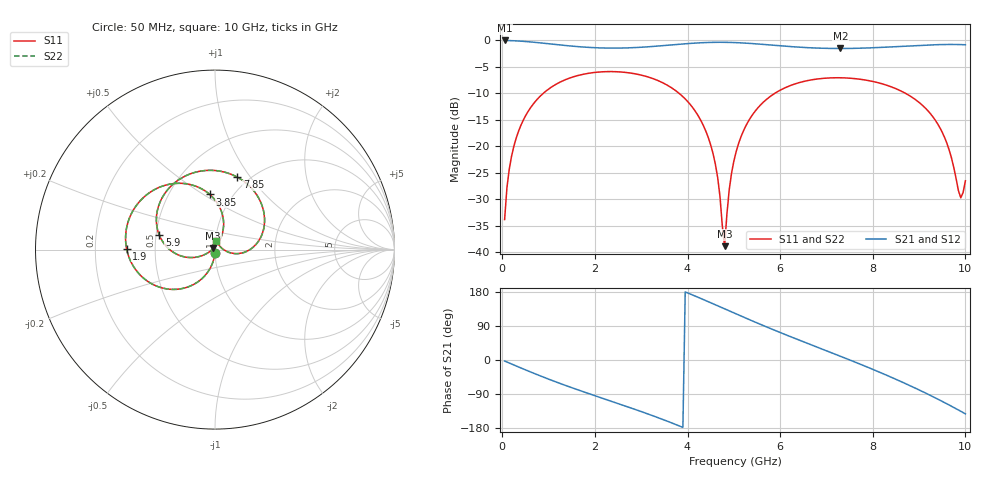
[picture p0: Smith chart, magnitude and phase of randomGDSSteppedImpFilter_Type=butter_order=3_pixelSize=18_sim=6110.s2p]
! freq	dB(S11)	phase(S11)	dB(S12)	phase(S12)
!  dB(S21)	phase(S21)	dB(S22)	phase(S22)
!S-par simulation data
#  GHz  S  DB  R 50
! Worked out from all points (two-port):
!   200 points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, 50 MHz to 10 GHz, reference 50 ohm
!   highest |S21| = -0.01 dB at 50 MHz (marker M1); lowest = -1.5 dB at 7.3 GHz (marker M2)
!   |S21| within 3 dB of the highest: start of sweep to end of sweep
!   lowest |S11| = -38.8 dB at 4.8 GHz (marker M3), VSWR 1.02, Z = 49.1 + j0.633 ohm
!   |S11| at or under -10 dB: start of sweep to 882.8 MHz; 3.82 GHz to 5.88 GHz (2.06 GHz wide, 42.5 % of centre); 8.711 GHz to end of sweep
!   |S22| runs from -38.5 to -5.9 dB; largest |S21 - S12| = 0
!   S11 on the Smith chart (normalised r, x): 50 MHz: 1.00, -0.04; 1.9 GHz: 0.34, +0.00; 3.85 GHz: 0.79, +0.53; 5.9 GHz: 0.52, +0.09; 7.85 GHz: 0.88, +0.87; 10 GHz: 1.01, +0.09
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0.05  -33.79 -92.7  -0.01 -2.7  -0.01 -2.7  -33.79 -92.7
0.2  -21.85 -100.9  -0.05 -10.6  -0.05 -10.6  -21.85 -100.9
0.5  -14.25 -116.5  -0.20 -26.0  -0.20 -26.0  -14.25 -116.5
1.1  -8.58 -145.7  -0.72 -55.1  -0.72 -55.1  -8.58 -145.7
1.75  -6.38 -174.3  -1.25 -83.8  -1.25 -83.8  -6.38 -174.3
1.9  -6.15 179.4  -1.33 -90.1  -1.33 -90.1  -6.15 179.4
3.4  -7.72 116.2  -1.03 -153.9  -1.03 -153.9  -7.72 116.2
3.85  -10.22 95.3  -0.70 -175.3  -0.70 -175.3  -10.22 95.4
4.5  -19.72 65.8  -0.37 151.1  -0.37 151.1  -19.71 66.1
4.65  -25.83 63.7  -0.35 143.1  -0.35 143.1  -25.82 64.2
4.8  -38.81 145.8  -0.36 135.0  -0.36 135.0  -38.49 145.5
4.9  -28.17 -156.1  -0.37 129.7  -0.37 129.7  -28.15 -156.8
5.05  -20.98 -155.5  -0.42 121.6  -0.42 121.6  -20.98 -155.8
5.9  -9.89 165.6  -0.94 77.5  -0.94 77.5  -9.89 165.5
6.7  -7.40 127.7  -1.41 38.7  -1.41 38.7  -7.40 127.5
7.3  -7.04 99.5  -1.52 10.0  -1.52 10.0  -7.04 99.3
7.85  -7.49 73.0  -1.43 -17.0  -1.43 -17.0  -7.49 72.8
8.35  -8.60 47.9  -1.24 -42.9  -1.24 -42.9  -8.60 47.7
9.25  -13.87 1.6  -0.84 -93.8  -0.84 -93.8  -13.88 1.3
9.6  -19.39 -11.5  -0.76 -115.6  -0.76 -115.6  -19.41 -12.1
9.9  -29.68 37.4  -0.78 -135.3  -0.78 -135.3  -29.98 37.2
10  -26.48 81.4  -0.82 -142.1  -0.82 -142.1  -26.63 82.4
